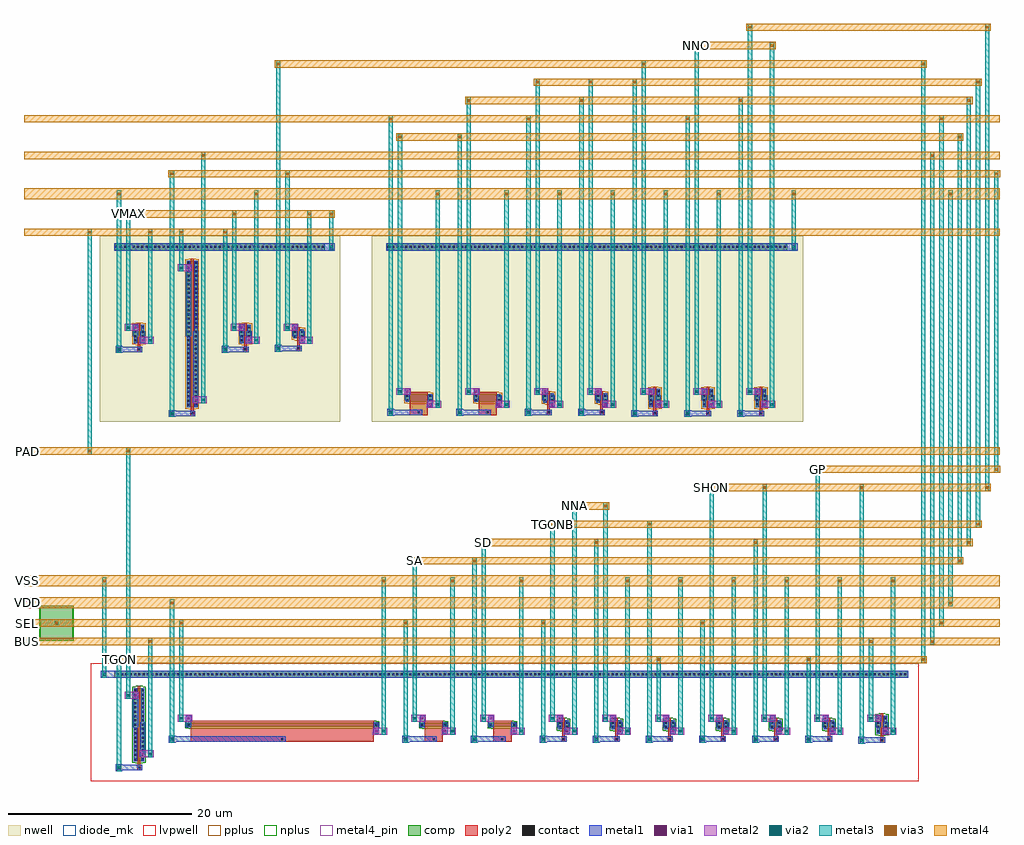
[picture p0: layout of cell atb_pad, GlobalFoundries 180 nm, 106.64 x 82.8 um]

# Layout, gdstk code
import gdstk
lib = gdstk.Library(unit=1e-6, precision=1e-09)
def R(c, l, rs):  # rectangles x0, y0, x1, y1
    for r in rs: c.add(gdstk.rectangle(r[:2], r[2:], *l))
def A(c, l, x, y, w, h, nx, ny, dx, dy):  # array of equal rectangles
    R(c, l, [(x+i*dx, y+j*dy, x+i*dx+w, y+j*dy+h) for i in range(nx) for j in range(ny)])
nwell = (21, 0)
comp = (22, 0)
poly2 = (30, 0)
pplus = (31, 0)
nplus = (32, 0)
contact = (33, 0)
metal1 = (34, 0)
via1 = (35, 0)
metal2 = (36, 0)
via2 = (38, 0)
via3 = (40, 0)
metal3 = (42, 0)
metal4 = (46, 0)
metal4_pin = (46, 10)
diode_mk = (115, 5)
lvpwell = (204, 0)

atb_pad = lib.new_cell('atb_pad')
R(atb_pad, nwell, [(-1.5,38.8,24.8,59.1), (28.2,38.8,75.34,59.1)])
A(atb_pad, comp, 48.58, 5.2, 1.16, 1, 6, 1, 5.8, 0)
A(atb_pad, comp, 58.56, 40.4, 1.16, 2, 3, 1, 5.8, 0)
R(atb_pad, comp, [(2.22,1.7,3.38,9.7), (83.38,4.7,84.54,6.7), (8.02,5.49,28.9,5.91), (33.54,5.49,36.42,5.91), (41.06,5.49,43.94,5.91), (0.13,10.83,86.83,11.57), (-7.98,15.05,-4.48,18.55), (-9.38,16.5,-8.78,17.1), (8.02,40.4,9.18,56.4), (46.96,40.9,48.12,41.9), (52.76,40.9,53.92,41.9), (31.92,40.98,34.8,41.82), (39.44,40.98,42.32,41.82), (2.22,47.4,3.38,49.4), (13.82,47.4,14.98,49.4), (19.62,47.9,20.78,48.9), (0.13,57.53,23.07,58.27), (29.83,57.53,73.61,58.27)])
A(atb_pad, poly2, 48.96, 3.82, 0.4, 0.6, 6, 1, 5.8, 0)
A(atb_pad, poly2, 49.02, 4.42, 0.28, 2, 6, 1, 5.8, 0)
A(atb_pad, poly2, 58.94, 39.4, 0.4, 0.6, 3, 1, 5.8, 0)
A(atb_pad, poly2, 59, 40, 0.28, 2.62, 3, 1, 5.8, 0)
R(atb_pad, poly2, [(2.6,0.7,3,1.3), (2.66,1.3,2.94,9.92), (83.76,3.7,84.16,4.3), (8.46,3.82,28.46,6.13), (33.98,3.82,35.98,6.13), (41.5,3.82,43.5,6.13), (83.82,4.3,84.1,6.92), (8.4,39.4,8.8,40), (32.36,39.52,34.36,42.04), (39.88,39.52,41.88,42.04), (47.34,39.52,47.74,40.12), (53.14,39.52,53.54,40.12), (8.46,40,8.74,56.62), (47.4,40.12,47.68,42.12), (53.2,40.12,53.48,42.12), (2.6,46.4,3,47), (14.2,46.4,14.6,47), (20,46.52,20.4,47.12), (2.66,47,2.94,49.62), (14.26,47,14.54,49.62), (20.06,47.12,20.34,49.12)])
A(atb_pad, pplus, 58.77, 40.17, 0.74, 0.07, 3, 2, 5.8, 2.39)
A(atb_pad, pplus, 58.4, 40.24, 1.48, 2.32, 3, 1, 5.8, 0)
R(atb_pad, pplus, [(0.11,10.81,86.85,10.855), (0.105,10.855,86.855,11.545), (0.11,11.545,86.85,11.59), (-9.4,16.48,-8.76,17.12), (8.23,40.17,8.97,40.24), (7.86,40.24,9.34,56.56), (47.17,40.67,47.91,40.74), (52.97,40.67,53.71,40.74), (46.8,40.74,48.28,42.06), (52.6,40.74,54.08,42.06), (32.13,40.75,34.59,40.82), (39.65,40.75,42.11,40.82), (31.76,40.82,34.96,41.98), (39.28,40.82,42.48,41.98), (32.13,41.98,34.59,42.05), (39.65,41.98,42.11,42.05), (47.17,42.06,47.91,42.13), (52.97,42.06,53.71,42.13), (2.43,47.17,3.17,47.24), (14.03,47.17,14.77,47.24), (2.06,47.24,3.54,49.56), (13.66,47.24,15.14,49.56), (19.83,47.67,20.57,47.74), (19.46,47.74,20.94,49.06), (19.83,49.06,20.57,49.13), (2.43,49.56,3.17,49.63), (14.03,49.56,14.77,49.63), (8.23,56.56,8.97,56.63)])
A(atb_pad, nplus, 48.79, 4.97, 0.74, 0.07, 6, 2, 5.8, 1.39)
A(atb_pad, nplus, 48.42, 5.04, 1.48, 1.32, 6, 1, 5.8, 0)
R(atb_pad, nplus, [(2.43,1.47,3.17,1.54), (2.06,1.54,3.54,9.86), (83.59,4.47,84.33,4.54), (83.22,4.54,84.7,6.86), (8.23,5.26,28.69,5.33), (33.75,5.26,36.21,5.33), (41.27,5.26,43.73,5.33), (7.86,5.33,29.06,6.07), (33.38,5.33,36.58,6.07), (40.9,5.33,44.1,6.07), (8.23,6.07,28.69,6.14), (33.75,6.07,36.21,6.14), (41.27,6.07,43.73,6.14), (83.59,6.86,84.33,6.93), (2.43,9.86,3.17,9.93), (-8.14,14.89,-4.32,18.71), (0.11,57.51,23.09,57.555), (29.81,57.51,73.63,57.555), (0.105,57.555,23.095,58.245), (29.805,57.555,73.635,58.245), (0.11,58.245,23.09,58.29), (29.81,58.245,73.63,58.29)])
A(atb_pad, contact, 2.29, 1.83, 0.22, 0.22, 1, 17, 0, 0.47)
A(atb_pad, contact, 3.09, 1.83, 0.22, 0.22, 1, 17, 0, 0.47)
A(atb_pad, contact, 49.05, 4.01, 0.22, 0.22, 6, 1, 5.8, 0)
A(atb_pad, contact, 83.45, 4.885, 0.22, 0.22, 1, 4, 0, 0.47)
A(atb_pad, contact, 84.25, 4.885, 0.22, 0.22, 1, 4, 0, 0.47)
A(atb_pad, contact, 0.365, 11.09, 0.22, 0.22, 184, 1, 0.47, 0)
A(atb_pad, contact, 59.03, 39.59, 0.22, 0.22, 3, 1, 5.8, 0)
A(atb_pad, contact, 8.09, 40.535, 0.22, 0.22, 1, 34, 0, 0.47)
A(atb_pad, contact, 8.89, 40.535, 0.22, 0.22, 1, 34, 0, 0.47)
A(atb_pad, contact, 58.63, 40.585, 0.22, 0.22, 1, 4, 0, 0.47)
A(atb_pad, contact, 59.43, 40.585, 0.22, 0.22, 1, 4, 0, 0.47)
A(atb_pad, contact, 64.43, 40.585, 0.22, 0.22, 1, 4, 0, 0.47)
A(atb_pad, contact, 65.23, 40.585, 0.22, 0.22, 1, 4, 0, 0.47)
A(atb_pad, contact, 70.23, 40.585, 0.22, 0.22, 1, 4, 0, 0.47)
A(atb_pad, contact, 71.03, 40.585, 0.22, 0.22, 1, 4, 0, 0.47)
A(atb_pad, contact, 2.29, 47.585, 0.22, 0.22, 1, 4, 0, 0.47)
A(atb_pad, contact, 3.09, 47.585, 0.22, 0.22, 1, 4, 0, 0.47)
A(atb_pad, contact, 13.89, 47.585, 0.22, 0.22, 1, 4, 0, 0.47)
A(atb_pad, contact, 14.69, 47.585, 0.22, 0.22, 1, 4, 0, 0.47)
A(atb_pad, contact, 0.21, 57.79, 0.22, 0.22, 49, 1, 0.47, 0)
A(atb_pad, contact, 29.99, 57.79, 0.22, 0.22, 93, 1, 0.47, 0)
R(atb_pad, contact, [(2.69,0.89,2.91,1.11), (83.85,3.89,84.07,4.11), (18.35,4.01,18.57,4.23), (34.87,4.01,35.09,4.23), (42.39,4.01,42.61,4.23), (48.65,5.355,48.87,5.575), (49.45,5.355,49.67,5.575), (54.45,5.355,54.67,5.575), (55.25,5.355,55.47,5.575), (60.25,5.355,60.47,5.575), (61.05,5.355,61.27,5.575), (66.05,5.355,66.27,5.575), (66.85,5.355,67.07,5.575), (71.85,5.355,72.07,5.575), (72.65,5.355,72.87,5.575), (77.65,5.355,77.87,5.575), (78.45,5.355,78.67,5.575), (8.09,5.59,8.31,5.81), (28.61,5.59,28.83,5.81), (33.61,5.59,33.83,5.81), (36.13,5.59,36.35,5.81), (41.13,5.59,41.35,5.81), (43.65,5.59,43.87,5.81), (48.65,5.825,48.87,6.045), (49.45,5.825,49.67,6.045), (54.45,5.825,54.67,6.045), (55.25,5.825,55.47,6.045), (60.25,5.825,60.47,6.045), (61.05,5.825,61.27,6.045), (66.05,5.825,66.27,6.045), (66.85,5.825,67.07,6.045), (71.85,5.825,72.07,6.045), (72.65,5.825,72.87,6.045), (77.65,5.825,77.87,6.045), (78.45,5.825,78.67,6.045), (-9.19,16.69,-8.97,16.91), (-6.34,16.69,-6.12,16.91), (8.49,39.59,8.71,39.81), (33.25,39.71,33.47,39.93), (40.77,39.71,40.99,39.93), (47.43,39.71,47.65,39.93), (53.23,39.71,53.45,39.93), (31.99,41.055,32.21,41.275), (34.51,41.055,34.73,41.275), (39.51,41.055,39.73,41.275), (42.03,41.055,42.25,41.275), (47.03,41.055,47.25,41.275), (47.83,41.055,48.05,41.275), (52.83,41.055,53.05,41.275), (53.63,41.055,53.85,41.275), (31.99,41.525,32.21,41.745), (34.51,41.525,34.73,41.745), (39.51,41.525,39.73,41.745), (42.03,41.525,42.25,41.745), (47.03,41.525,47.25,41.745), (47.83,41.525,48.05,41.745), (52.83,41.525,53.05,41.745), (53.63,41.525,53.85,41.745), (2.69,46.59,2.91,46.81), (14.29,46.59,14.51,46.81), (20.09,46.71,20.31,46.93), (19.69,48.055,19.91,48.275), (20.49,48.055,20.71,48.275), (19.69,48.525,19.91,48.745), (20.49,48.525,20.71,48.745)])
A(atb_pad, metal1, 31.54, 3.74, 0.76, 0.08, 3, 2, 7.52, 0.68)
A(atb_pad, metal1, 52.38, 3.74, 0.76, 0.08, 5, 2, 5.8, 0.68)
A(atb_pad, metal1, 46.58, 3.82, 2.93, 0.6, 6, 1, 5.8, 0)
A(atb_pad, metal1, 28.44, 4.72, 0.56, 1.26, 3, 1, 7.52, 0)
A(atb_pad, metal1, 49.28, 4.72, 0.56, 1.26, 7, 1, 5.8, 0)
A(atb_pad, metal1, 48.58, 5.2, 0.36, 0.22, 6, 1, 5.8, 0)
A(atb_pad, metal1, 33.44, 5.42, 0.56, 1.26, 3, 1, 7.52, 0)
A(atb_pad, metal1, 54.28, 5.42, 0.56, 1.26, 6, 1, 5.8, 0)
A(atb_pad, metal1, 49.38, 5.98, 0.36, 0.22, 6, 1, 5.8, 0)
A(atb_pad, metal1, 56.56, 39.32, 0.76, 0.08, 3, 2, 5.8, 0.68)
A(atb_pad, metal1, 56.56, 39.4, 2.93, 0.6, 3, 1, 5.8, 0)
A(atb_pad, metal1, 29.92, 39.44, 0.76, 0.08, 3, 2, 7.52, 0.68)
A(atb_pad, metal1, 58.56, 40.4, 0.36, 0.72, 3, 1, 5.8, 0)
A(atb_pad, metal1, 59.36, 40.4, 0.36, 0.02, 3, 1, 5.8, 0)
A(atb_pad, metal1, 41.86, 40.42, 0.56, 1.26, 6, 1, 5.8, 0)
A(atb_pad, metal1, 31.82, 41.12, 0.56, 1.26, 3, 1, 7.52, 0)
A(atb_pad, metal1, 52.66, 41.12, 0.56, 1.26, 4, 1, 5.8, 0)
A(atb_pad, metal1, 59.36, 41.68, 0.36, 0.72, 3, 1, 5.8, 0)
A(atb_pad, metal1, 58.56, 42.38, 0.36, 0.02, 3, 1, 5.8, 0)
R(atb_pad, metal1, [(0.22,0.62,0.98,0.7), (0.22,0.7,3.15,1.3), (0.22,1.3,0.98,1.38), (2.22,1.7,2.58,5.42), (3.02,1.7,3.38,2.22), (2.92,2.22,3.48,5.98), (81.38,3.62,82.14,3.7), (81.38,3.7,84.31,4.3), (6.02,3.74,6.78,3.82), (6.02,3.82,18.81,4.42), (31.54,3.82,35.33,4.42), (39.06,3.82,42.85,4.42), (81.38,4.3,82.14,4.38), (6.02,4.42,6.78,4.5), (83.38,4.7,83.74,5.42), (84.18,4.7,84.54,4.72), (2.12,5.42,2.68,9.18), (7.92,5.42,8.48,6.68), (3.02,5.98,3.38,9.7), (84.18,5.98,84.54,6.7), (83.38,6.68,83.74,6.7), (2.22,9.18,2.58,9.7), (-1.4,10.8,86.86,11.6), (-9.28,16.6,-8.88,17), (-6.43,16.6,-6.03,17), (6.02,39.32,6.78,39.4), (6.02,39.4,8.95,40), (50.76,39.44,51.52,39.52), (29.92,39.52,33.71,40.12), (37.44,39.52,41.23,40.12), (44.96,39.52,47.89,40.12), (50.76,39.52,53.69,40.12), (6.02,40,6.78,40.08), (50.76,40.12,51.52,40.2), (8.02,40.4,8.38,48.12), (8.82,40.4,9.18,40.92), (34.34,40.42,34.9,41.68), (46.96,40.9,47.32,41.12), (52.76,40.9,53.12,41.12), (8.72,40.92,9.28,48.68), (31.92,40.98,32.28,41.12), (39.44,40.98,39.8,41.12), (34.44,41.68,34.8,41.82), (41.96,41.68,42.32,41.82), (47.76,41.68,48.12,41.9), (53.56,41.68,53.92,41.9), (0.22,46.32,0.98,46.4), (11.82,46.32,12.58,46.4), (0.22,46.4,3.15,47), (11.82,46.4,14.75,47), (17.62,46.44,18.38,46.52), (17.62,46.52,20.55,47.12), (0.22,47,0.98,47.08), (11.82,47,12.58,47.08), (17.62,47.12,18.38,47.2), (2.22,47.4,2.58,48.12), (3.02,47.4,3.38,47.42), (13.82,47.4,14.18,48.12), (14.62,47.4,14.98,47.42), (2.92,47.42,3.48,48.68), (14.52,47.42,15.08,48.68), (20.32,47.42,20.88,48.68), (19.62,47.9,19.98,48.12), (2.12,48.12,2.68,49.38), (7.92,48.12,8.48,55.88), (13.72,48.12,14.28,49.38), (19.52,48.12,20.08,49.38), (3.02,48.68,3.38,49.4), (8.82,48.68,9.18,56.4), (14.62,48.68,14.98,49.4), (20.42,48.68,20.78,48.9), (2.22,49.38,2.58,49.4), (13.82,49.38,14.18,49.4), (8.02,55.88,8.38,56.4), (0.1,57.5,24.2,58.3), (29.8,57.5,74.74,58.3)])
A(atb_pad, via1, 31.79, 3.99, 0.26, 0.26, 3, 1, 7.52, 0)
A(atb_pad, via1, 52.63, 3.99, 0.26, 0.26, 5, 1, 5.8, 0)
A(atb_pad, via1, 28.59, 4.87, 0.26, 0.26, 3, 1, 7.52, 0)
A(atb_pad, via1, 49.43, 4.87, 0.26, 0.26, 7, 1, 5.8, 0)
A(atb_pad, via1, 33.59, 6.27, 0.26, 0.26, 3, 1, 7.52, 0)
A(atb_pad, via1, 54.43, 6.27, 0.26, 0.26, 6, 1, 5.8, 0)
A(atb_pad, via1, 56.81, 39.57, 0.26, 0.26, 3, 1, 5.8, 0)
A(atb_pad, via1, 30.17, 39.69, 0.26, 0.26, 3, 1, 7.52, 0)
A(atb_pad, via1, 42.01, 40.57, 0.26, 0.26, 6, 1, 5.8, 0)
A(atb_pad, via1, 31.97, 41.97, 0.26, 0.26, 3, 1, 7.52, 0)
A(atb_pad, via1, 52.81, 41.97, 0.26, 0.26, 4, 1, 5.8, 0)
R(atb_pad, via1, [(0.47,0.87,0.73,1.13), (3.07,2.37,3.33,2.63), (81.63,3.87,81.89,4.13), (6.27,3.99,6.53,4.25), (8.07,6.27,8.33,6.53), (2.27,8.77,2.53,9.03), (-1.13,11.07,-0.87,11.33), (-6.36,16.67,-6.1,16.93), (6.27,39.57,6.53,39.83), (51.01,39.69,51.27,39.95), (34.49,40.57,34.75,40.83), (8.87,41.07,9.13,41.33), (0.47,46.57,0.73,46.83), (12.07,46.57,12.33,46.83), (17.87,46.69,18.13,46.95), (3.07,47.57,3.33,47.83), (14.67,47.57,14.93,47.83), (20.47,47.57,20.73,47.83), (2.27,48.97,2.53,49.23), (13.87,48.97,14.13,49.23), (19.67,48.97,19.93,49.23), (8.07,55.47,8.33,55.73), (23.67,57.77,23.93,58.03), (74.21,57.77,74.47,58.03)])
A(atb_pad, metal2, 31.69, 3.89, 0.46, 0.46, 3, 1, 7.52, 0)
A(atb_pad, metal2, 52.53, 3.89, 0.46, 0.46, 5, 1, 5.8, 0)
A(atb_pad, metal2, 28.34, 4.62, 1.56, 0.76, 3, 1, 7.52, 0)
A(atb_pad, metal2, 49.18, 4.62, 1.56, 0.76, 7, 1, 5.8, 0)
A(atb_pad, metal2, 32.54, 6.02, 1.56, 0.76, 3, 1, 7.52, 0)
A(atb_pad, metal2, 53.38, 6.02, 1.56, 0.76, 6, 1, 5.8, 0)
A(atb_pad, metal2, 56.71, 39.47, 0.46, 0.46, 3, 1, 5.8, 0)
A(atb_pad, metal2, 30.07, 39.59, 0.46, 0.46, 3, 1, 7.52, 0)
A(atb_pad, metal2, 41.76, 40.32, 1.56, 0.76, 6, 1, 5.8, 0)
A(atb_pad, metal2, 30.92, 41.72, 1.56, 0.76, 3, 1, 7.52, 0)
A(atb_pad, metal2, 51.76, 41.72, 1.56, 0.76, 4, 1, 5.8, 0)
R(atb_pad, metal2, [(0.37,0.77,0.83,1.23), (2.82,2.12,4.38,2.88), (81.53,3.77,81.99,4.23), (6.17,3.89,6.63,4.35), (7.02,6.02,8.58,6.78), (1.22,8.52,2.78,9.28), (-1.23,10.97,-0.77,11.43), (-6.43,16.6,-6.03,17), (6.17,39.47,6.63,39.93), (50.91,39.59,51.37,40.05), (34.24,40.32,35.8,41.08), (8.62,40.82,10.18,41.58), (0.37,46.47,0.83,46.93), (11.97,46.47,12.43,46.93), (17.77,46.59,18.23,47.05), (2.82,47.32,4.38,48.08), (14.42,47.32,15.98,48.08), (20.22,47.32,21.78,48.08), (1.22,48.72,2.78,49.48), (12.82,48.72,14.38,49.48), (18.62,48.72,20.18,49.48), (7.02,55.22,8.58,55.98), (23.57,57.67,24.03,58.13), (74.11,57.67,74.57,58.13)])
A(atb_pad, via2, 31.79, 3.99, 0.26, 0.26, 3, 1, 7.52, 0)
A(atb_pad, via2, 52.63, 3.99, 0.26, 0.26, 5, 1, 5.8, 0)
A(atb_pad, via2, 29.39, 4.87, 0.26, 0.26, 3, 1, 7.52, 0)
A(atb_pad, via2, 50.23, 4.87, 0.26, 0.26, 7, 1, 5.8, 0)
A(atb_pad, via2, 32.79, 6.27, 0.26, 0.26, 3, 1, 7.52, 0)
A(atb_pad, via2, 53.63, 6.27, 0.26, 0.26, 6, 1, 5.8, 0)
A(atb_pad, via2, 56.81, 39.57, 0.26, 0.26, 3, 1, 5.8, 0)
A(atb_pad, via2, 30.17, 39.69, 0.26, 0.26, 3, 1, 7.52, 0)
A(atb_pad, via2, 42.81, 40.57, 0.26, 0.26, 6, 1, 5.8, 0)
A(atb_pad, via2, 31.17, 41.97, 0.26, 0.26, 3, 1, 7.52, 0)
A(atb_pad, via2, 52.01, 41.97, 0.26, 0.26, 4, 1, 5.8, 0)
R(atb_pad, via2, [(0.47,0.87,0.73,1.13), (3.87,2.37,4.13,2.63), (81.63,3.87,81.89,4.13), (6.27,3.99,6.53,4.25), (7.27,6.27,7.53,6.53), (1.47,8.77,1.73,9.03), (-1.13,11.07,-0.87,11.33), (-6.36,16.67,-6.1,16.93), (6.27,39.57,6.53,39.83), (51.01,39.69,51.27,39.95), (35.29,40.57,35.55,40.83), (9.67,41.07,9.93,41.33), (0.47,46.57,0.73,46.83), (12.07,46.57,12.33,46.83), (17.87,46.69,18.13,46.95), (3.87,47.57,4.13,47.83), (15.47,47.57,15.73,47.83), (21.27,47.57,21.53,47.83), (1.47,48.97,1.73,49.23), (13.07,48.97,13.33,49.23), (18.87,48.97,19.13,49.23), (7.27,55.47,7.53,55.73), (23.67,57.77,23.93,58.03), (74.21,57.77,74.47,58.03)])
A(atb_pad, via3, 29.39, 21.27, 0.26, 0.26, 3, 1, 7.52, 0)
A(atb_pad, via3, 56.03, 21.27, 0.26, 0.26, 6, 1, 5.8, 0)
A(atb_pad, via3, 42.81, 63.57, 0.26, 0.26, 5, 1, 5.8, 0)
R(atb_pad, via3, [(0.47,12.67,0.73,12.93), (59.43,12.67,59.69,12.93), (75.83,12.67,76.09,12.93), (88.33,12.67,88.59,12.93), (3.87,14.67,4.13,14.93), (82.63,14.67,82.89,14.93), (89.33,14.67,89.59,14.93), (-6.36,16.67,-6.1,16.93), (7.27,16.67,7.53,16.93), (31.79,16.67,32.05,16.93), (46.83,16.67,47.09,16.93), (64.23,16.67,64.49,16.93), (90.33,16.67,90.59,16.93), (6.27,18.87,6.53,19.13), (91.33,18.87,91.59,19.13), (-1.13,21.27,-0.87,21.53), (32.79,23.47,33.05,23.73), (39.31,23.47,39.57,23.73), (92.33,23.47,92.59,23.73), (40.31,25.47,40.57,25.73), (52.63,25.47,52.89,25.73), (70.03,25.47,70.29,25.73), (93.33,25.47,93.59,25.73), (47.83,27.47,48.09,27.73), (58.43,27.47,58.69,27.73), (94.33,27.47,94.59,27.73), (50.23,29.47,50.49,29.73), (53.63,29.47,53.89,29.73), (65.23,31.47,65.49,31.73), (71.03,31.47,71.29,31.73), (81.63,31.47,81.89,31.73), (95.33,31.47,95.59,31.73), (76.83,33.47,77.09,33.73), (96.33,33.47,96.59,33.73), (-2.73,35.47,-2.47,35.73), (1.47,35.47,1.73,35.73), (-2.73,59.37,-2.47,59.63), (3.87,59.37,4.13,59.63), (7.27,59.37,7.53,59.63), (12.07,59.37,12.33,59.63), (1.47,61.37,1.73,61.63), (13.07,61.37,13.33,61.63), (21.27,61.37,21.53,61.63), (23.67,61.37,23.93,61.63), (0.47,63.57,0.73,63.83), (15.47,63.57,15.73,63.83), (35.29,63.57,35.55,63.83), (74.21,63.57,74.47,63.83), (91.33,63.57,91.59,63.83), (6.27,65.77,6.53,66.03), (18.87,65.77,19.13,66.03), (96.33,65.77,96.59,66.03), (9.67,67.77,9.93,68.03), (89.33,67.77,89.59,68.03), (31.17,69.77,31.43,70.03), (37.69,69.77,37.95,70.03), (92.33,69.77,92.59,70.03), (30.17,71.77,30.43,72.03), (45.21,71.77,45.47,72.03), (62.61,71.77,62.87,72.03), (90.33,71.77,90.59,72.03), (38.69,73.77,38.95,74.03), (51.01,73.77,51.27,74.03), (68.41,73.77,68.67,74.03), (93.33,73.77,93.59,74.03), (46.21,75.77,46.47,76.03), (52.01,75.77,52.27,76.03), (56.81,75.77,57.07,76.03), (94.33,75.77,94.59,76.03), (17.87,77.77,18.13,78.03), (57.81,77.77,58.07,78.03), (88.33,77.77,88.59,78.03), (63.61,79.77,63.87,80.03), (71.81,79.77,72.07,80.03), (69.41,81.77,69.67,82.03), (95.33,81.77,95.59,82.03)])
A(atb_pad, metal3, 29.29, 4.62, 0.46, 17.16, 3, 1, 7.52, 0)
A(atb_pad, metal3, 55.93, 4.62, 0.46, 17.16, 6, 1, 5.8, 0)
A(atb_pad, metal3, 42.71, 40.32, 0.46, 23.76, 5, 1, 5.8, 0)
R(atb_pad, metal3, [(0.37,0.62,0.83,13.18), (3.77,2.12,4.23,15.18), (81.53,3.62,81.99,31.98), (6.17,3.74,6.63,19.38), (31.69,3.74,32.15,17.18), (39.21,3.74,39.67,23.98), (46.73,3.74,47.19,17.18), (52.53,3.74,52.99,25.98), (58.33,3.74,58.79,27.98), (64.13,3.74,64.59,17.18), (69.93,3.74,70.39,25.98), (75.73,3.74,76.19,13.18), (50.13,4.62,50.59,29.98), (7.17,6.02,7.63,17.18), (32.69,6.02,33.15,23.98), (40.21,6.02,40.67,25.98), (47.73,6.02,48.19,27.98), (53.53,6.02,53.99,29.98), (59.33,6.02,59.79,13.18), (65.13,6.02,65.59,31.98), (70.93,6.02,71.39,31.98), (76.73,6.02,77.19,33.98), (82.53,6.02,82.99,15.18), (1.37,8.52,1.83,35.98), (-1.23,10.82,-0.77,21.78), (88.23,12.42,88.69,78.28), (89.23,14.42,89.69,68.28), (90.23,16.42,90.69,72.28), (-6.43,16.6,-6.03,17), (91.23,18.62,91.69,64.08), (92.23,23.22,92.69,70.28), (93.23,25.22,93.69,74.28), (94.23,27.22,94.69,76.28), (95.23,31.22,95.69,82.28), (96.23,33.22,96.69,66.28), (-2.83,35.22,-2.37,59.88), (6.17,39.32,6.63,66.28), (56.71,39.32,57.17,76.28), (62.51,39.32,62.97,72.28), (68.31,39.32,68.77,74.28), (30.07,39.44,30.53,72.28), (37.59,39.44,38.05,70.28), (45.11,39.44,45.57,72.28), (50.91,39.44,51.37,74.28), (35.19,40.32,35.65,64.08), (71.71,40.32,72.17,80.28), (9.57,40.82,10.03,68.28), (31.07,41.72,31.53,70.28), (38.59,41.72,39.05,74.28), (46.11,41.72,46.57,76.28), (51.91,41.72,52.37,76.28), (57.71,41.72,58.17,78.28), (63.51,41.72,63.97,80.28), (69.31,41.72,69.77,82.28), (0.37,46.32,0.83,64.08), (11.97,46.32,12.43,59.88), (17.77,46.44,18.23,78.28), (3.77,47.32,4.23,59.88), (15.37,47.32,15.83,64.08), (21.17,47.32,21.63,61.88), (1.37,48.72,1.83,61.88), (12.97,48.72,13.43,61.88), (18.77,48.72,19.23,66.28), (7.17,55.22,7.63,59.88), (23.57,57.52,24.03,61.88), (74.11,57.52,74.57,64.08)])
R(atb_pad, metal4, [(0.2,12.4,88.86,13.2), (-9.78,14.4,96.84,15.2), (-9.78,16.4,96.84,17.2), (-9.78,18.4,96.84,19.6), (-9.78,20.8,96.84,22), (32.52,23.2,92.86,24), (40.04,25.2,93.86,26), (47.56,27.2,94.86,28), (49.96,29.2,54.16,30), (64.96,31.2,95.86,32), (76.56,33.2,96.86,34), (-9.78,35.2,96.84,36), (-9.78,59.1,96.84,59.9), (1.2,61.1,24.2,61.9), (-9.78,63.1,96.84,64.3), (6,65.5,96.86,66.3), (-9.78,67.5,96.84,68.3), (30.9,69.5,92.86,70.3), (-9.78,71.5,96.84,72.3), (38.42,73.5,93.86,74.3), (45.94,75.5,94.86,76.3), (17.6,77.5,88.86,78.3), (63.34,79.5,72.34,80.3), (69.14,81.5,95.86,82.3)])
R(atb_pad, metal4_pin, [(-9.68,14.6,-9.08,15), (-9.68,16.6,-9.08,17), (-9.68,18.8,-9.08,19.2), (-9.68,21.2,-9.08,21.6), (-9.68,35.4,-9.08,35.8)])
R(atb_pad, diode_mk, [(-7.98,15.05,-4.48,18.55)])
R(atb_pad, lvpwell, [(-2.5,-0.5,87.96,12.4)])
atb_pad.add(gdstk.Label('GP', (76.96,33.6), layer=46, texttype=0))
atb_pad.add(gdstk.Label('NNA', (50.36,29.6), layer=46, texttype=0))
atb_pad.add(gdstk.Label('NNO', (63.74,79.9), layer=46, texttype=0))
atb_pad.add(gdstk.Label('SA', (32.92,23.6), layer=46, texttype=0))
atb_pad.add(gdstk.Label('SD', (40.44,25.6), layer=46, texttype=0))
atb_pad.add(gdstk.Label('SHON', (65.36,31.6), layer=46, texttype=0))
atb_pad.add(gdstk.Label('TGON', (0.6,12.8), layer=46, texttype=0))
atb_pad.add(gdstk.Label('TGONB', (47.96,27.6), layer=46, texttype=0))
atb_pad.add(gdstk.Label('VMAX', (1.6,61.5), layer=46, texttype=0))
atb_pad.add(gdstk.Label('PAD', (-9.38,35.6), layer=46, texttype=10))
atb_pad.add(gdstk.Label('BUS', (-9.38,14.8), layer=46, texttype=10))
atb_pad.add(gdstk.Label('SEL', (-9.38,16.8), layer=46, texttype=10))
atb_pad.add(gdstk.Label('VDD', (-9.38,19), layer=46, texttype=10))
atb_pad.add(gdstk.Label('VSS', (-9.38,21.4), layer=46, texttype=10))

lib.write_gds('atb_pad.gds')
